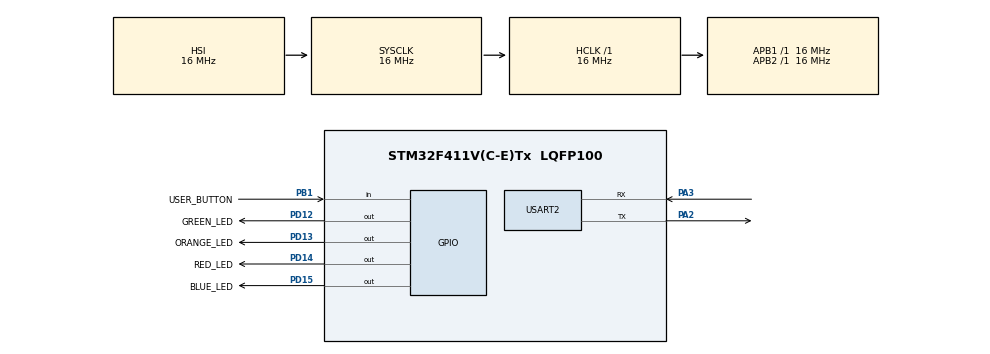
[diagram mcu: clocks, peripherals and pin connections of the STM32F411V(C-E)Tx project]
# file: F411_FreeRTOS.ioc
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FREERTOS.Tasks01=defaultTask,24,128,StartDefaultTask,Default,NULL,Dynamic,NULL,NULL;myTask02,24,128,StartTask02,Default,NULL,Dynamic,NULL,NULL;myTask03,24,128,StartTask03,Default,NULL,Dynamic,NULL,NULL;myTask04,24,128,StartTask04,Default,NULL,Dynamic,NULL,NULL;myTask05,24,128,StartTask05,Default,NULL,Dynamic,NULL,NULL
Mcu.Family=STM32F4
Mcu.Name=STM32F411V(C-E)Tx
Mcu.Package=LQFP100
NVIC.PriorityGroup=NVIC_PRIORITYGROUP_4
NVIC.TIM1_UP_TIM10_IRQn=true\:15\:0\:false\:false\:true\:false\:false\:true\:true
NVIC.TimeBase=TIM1_UP_TIM10_IRQn
NVIC.TimeBaseIP=TIM1
PA13.Mode=Serial_Wire
PA13.Signal=SYS_JTMS-SWDIO
PA14.Mode=Serial_Wire
PA14.Signal=SYS_JTCK-SWCLK
PA2.Mode=Asynchronous
PA2.Signal=USART2_TX
PA3.Mode=Asynchronous
PA3.Signal=USART2_RX
PB1.GPIO_Label=USER_BUTTON
PB1.Signal=GPIO_Input
PD12.GPIO_Label=GREEN_LED
PD12.Signal=GPIO_Output
PD13.GPIO_Label=ORANGE_LED
PD13.Signal=GPIO_Output
PD14.GPIO_Label=RED_LED
PD14.Signal=GPIO_Output
PD15.GPIO_Label=BLUE_LED
PD15.Signal=GPIO_Output
ProjectManager.HeapSize=0x200
ProjectManager.StackSize=0x400
ProjectManager.TargetToolchain=STM32CubeIDE
RCC.AHBFreq_Value=16000000
RCC.APB1Freq_Value=16000000
RCC.APB2Freq_Value=16000000
RCC.CortexFreq_Value=16000000
RCC.HSE_VALUE=25000000
RCC.HSI_VALUE=16000000
RCC.LSE_VALUE=32768
RCC.SYSCLKFreq_VALUE=16000000
RCC.VCOOutputFreq_Value=192000000
USART2.VirtualMode=VM_ASYNC
VP_FREERTOS_VS_CMSIS_V2.Mode=CMSIS_V2
VP_SYS_VS_tim1.Mode=TIM1
board=custom

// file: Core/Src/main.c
/* USER CODE BEGIN Header */
/**
  ******************************************************************************
  * @file           : main.c
  * @brief          : Main program body
  ******************************************************************************
  * @attention
  *
  * Copyright (c) 2022 STMicroelectronics.
  * All rights reserved.
  *
  * This software is licensed under terms that can be found in the LICENSE file
  * in the root directory of this software component.
  * If no LICENSE file comes with this software, it is provided AS-IS.
  *
  ******************************************************************************
  */
/* USER CODE END Header */
#include "main.h"
#include "cmsis_os.h"

/* USER CODE BEGIN Includes */
#include "string.h"

/* USER CODE END Includes */

UART_HandleTypeDef huart2;

/* Definitions for defaultTask */
osThreadId_t defaultTaskHandle;
const osThreadAttr_t defaultTask_attributes = {
  .name = "defaultTask",
  .stack_size = 128 * 4,
  .priority = (osPriority_t) osPriorityNormal,
};
/* Definitions for myTask02 */
osThreadId_t myTask02Handle;
const osThreadAttr_t myTask02_attributes = {
  .name = "myTask02",
  .stack_size = 128 * 4,
  .priority = (osPriority_t) osPriorityNormal,
};
/* Definitions for myTask03 */
osThreadId_t myTask03Handle;
const osThreadAttr_t myTask03_attributes = {
  .name = "myTask03",
  .stack_size = 128 * 4,
  .priority = (osPriority_t) osPriorityNormal,
};
/* Definitions for myTask04 */
osThreadId_t myTask04Handle;
const osThreadAttr_t myTask04_attributes = {
  .name = "myTask04",
  .stack_size = 128 * 4,
  .priority = (osPriority_t) osPriorityNormal,
};
/* Definitions for myTask05 */
osThreadId_t myTask05Handle;
const osThreadAttr_t myTask05_attributes = {
  .name = "myTask05",
  .stack_size = 128 * 4,
  .priority = (osPriority_t) osPriorityNormal,
};

void SystemClock_Config(void);
static void MX_GPIO_Init(void);
static void MX_USART2_UART_Init(void);
void StartDefaultTask(void *argument);
void StartTask02(void *argument);
void StartTask03(void *argument);
void StartTask04(void *argument);
void StartTask05(void *argument);

int main(void)
{

  /* MCU Configuration--------------------------------------------------------*/

  /* Reset of all peripherals, Initializes the Flash interface and the Systick. */
  HAL_Init();

  /* Configure the system clock */
  SystemClock_Config();

  /* Initialize all configured peripherals */
  MX_GPIO_Init();
  MX_USART2_UART_Init();

  /* Init scheduler */
  osKernelInitialize();

  /* Create the thread(s) */
  /* creation of defaultTask */
  defaultTaskHandle = osThreadNew(StartDefaultTask, NULL, &defaultTask_attributes);

  /* creation of myTask02 */
  myTask02Handle = osThreadNew(StartTask02, NULL, &myTask02_attributes);

  /* creation of myTask03 */
  myTask03Handle = osThreadNew(StartTask03, NULL, &myTask03_attributes);

  /* creation of myTask04 */
  myTask04Handle = osThreadNew(StartTask04, NULL, &myTask04_attributes);

  /* creation of myTask05 */
  myTask05Handle = osThreadNew(StartTask05, NULL, &myTask05_attributes);

  /* Start scheduler */
  osKernelStart();

  /* We should never get here as control is now taken by the scheduler */
  /* Infinite loop */
  while (1)
  {

    /* USER CODE BEGIN 3 */
	  //osDelay(x) fonksiyonu sayesinde x(ms) de bir task kendini tekrar eder.
  }
  /* USER CODE END 3 */
}

void SystemClock_Config(void)
{
  RCC_OscInitTypeDef RCC_OscInitStruct = {0};
  RCC_ClkInitTypeDef RCC_ClkInitStruct = {0};

  /** Configure the main internal regulator output voltage
  */
  __HAL_RCC_PWR_CLK_ENABLE();
  __HAL_PWR_VOLTAGESCALING_CONFIG(PWR_REGULATOR_VOLTAGE_SCALE1);

  /** Initializes the RCC Oscillators according to the specified parameters
  * in the RCC_OscInitTypeDef structure.
  */
  RCC_OscInitStruct.OscillatorType = RCC_OSCILLATORTYPE_HSI;
  RCC_OscInitStruct.HSIState = RCC_HSI_ON;
  RCC_OscInitStruct.HSICalibrationValue = RCC_HSICALIBRATION_DEFAULT;
  RCC_OscInitStruct.PLL.PLLState = RCC_PLL_NONE;
  if (HAL_RCC_OscConfig(&RCC_OscInitStruct) != HAL_OK)
  {
    Error_Handler();
  }

  /** Initializes the CPU, AHB and APB buses clocks
  */
  RCC_ClkInitStruct.ClockType = RCC_CLOCKTYPE_HCLK|RCC_CLOCKTYPE_SYSCLK
                              |RCC_CLOCKTYPE_PCLK1|RCC_CLOCKTYPE_PCLK2;
  RCC_ClkInitStruct.SYSCLKSource = RCC_SYSCLKSOURCE_HSI;
  RCC_ClkInitStruct.AHBCLKDivider = RCC_SYSCLK_DIV1;
  RCC_ClkInitStruct.APB1CLKDivider = RCC_HCLK_DIV1;
  RCC_ClkInitStruct.APB2CLKDivider = RCC_HCLK_DIV1;

  if (HAL_RCC_ClockConfig(&RCC_ClkInitStruct, FLASH_LATENCY_0) != HAL_OK)
  {
    Error_Handler();
  }
}

static void MX_USART2_UART_Init(void)
{

  huart2.Instance = USART2;
  huart2.Init.BaudRate = 115200;
  huart2.Init.WordLength = UART_WORDLENGTH_8B;
  huart2.Init.StopBits = UART_STOPBITS_1;
  huart2.Init.Parity = UART_PARITY_NONE;
  huart2.Init.Mode = UART_MODE_TX_RX;
  huart2.Init.HwFlowCtl = UART_HWCONTROL_NONE;
  huart2.Init.OverSampling = UART_OVERSAMPLING_16;
  if (HAL_UART_Init(&huart2) != HAL_OK)
  {
    Error_Handler();
  }

}

static void MX_GPIO_Init(void)
{
  GPIO_InitTypeDef GPIO_InitStruct = {0};

  /* GPIO Ports Clock Enable */
  __HAL_RCC_GPIOA_CLK_ENABLE();
  __HAL_RCC_GPIOB_CLK_ENABLE();
  __HAL_RCC_GPIOD_CLK_ENABLE();

  /*Configure GPIO pin Output Level */
  HAL_GPIO_WritePin(GPIOD, GREEN_LED_Pin|ORANGE_LED_Pin|RED_LED_Pin|BLUE_LED_Pin, GPIO_PIN_RESET);

  /*Configure GPIO pin : USER_BUTTON_Pin */
  GPIO_InitStruct.Pin = USER_BUTTON_Pin;
  GPIO_InitStruct.Mode = GPIO_MODE_INPUT;
  GPIO_InitStruct.Pull = GPIO_NOPULL;
  HAL_GPIO_Init(USER_BUTTON_GPIO_Port, &GPIO_InitStruct);

  /*Configure GPIO pins : GREEN_LED_Pin ORANGE_LED_Pin RED_LED_Pin BLUE_LED_Pin */
  GPIO_InitStruct.Pin = GREEN_LED_Pin|ORANGE_LED_Pin|RED_LED_Pin|BLUE_LED_Pin;
  GPIO_InitStruct.Mode = GPIO_MODE_OUTPUT_PP;
  GPIO_InitStruct.Pull = GPIO_NOPULL;
  GPIO_InitStruct.Speed = GPIO_SPEED_FREQ_LOW;
  HAL_GPIO_Init(GPIOD, &GPIO_InitStruct);

}

void StartDefaultTask(void *argument)
{
  /* USER CODE BEGIN 5 */
  /* Infinite loop */
  for(;;)
  {
	  HAL_GPIO_WritePin(ORANGE_LED_GPIO_Port, ORANGE_LED_Pin, 1);
	  HAL_Delay(100);
	  HAL_GPIO_WritePin(ORANGE_LED_GPIO_Port, ORANGE_LED_Pin, 0);
	  HAL_Delay(100);
	  osDelay(1);
  }
  /* USER CODE END 5 */
}

void StartTask02(void *argument)
{
  /* USER CODE BEGIN StartTask02 */
  /* Infinite loop */
  for(;;)
  {
	  HAL_GPIO_WritePin(GREEN_LED_GPIO_Port, GREEN_LED_Pin, 1);
	  HAL_Delay(200);
	  HAL_GPIO_WritePin(GREEN_LED_GPIO_Port, GREEN_LED_Pin, 0);
	  HAL_Delay(200);
	  osDelay(1);
  }
  /* USER CODE END StartTask02 */
}

void StartTask03(void *argument)
{
  /* USER CODE BEGIN StartTask03 */
  /* Infinite loop */
  for(;;)
  {
	  HAL_GPIO_WritePin(RED_LED_GPIO_Port, RED_LED_Pin, 1);
	  HAL_Delay(300);
	  HAL_GPIO_WritePin(RED_LED_GPIO_Port, RED_LED_Pin, 0);
	  HAL_Delay(300);
	  osDelay(1);
  }
  /* USER CODE END StartTask03 */
}

void StartTask04(void *argument)
{
  /* USER CODE BEGIN StartTask04 */
  /* Infinite loop */
  for(;;)
  {
	  HAL_GPIO_WritePin(BLUE_LED_GPIO_Port, BLUE_LED_Pin, 1);
	  HAL_Delay(400);
	  HAL_GPIO_WritePin(BLUE_LED_GPIO_Port, BLUE_LED_Pin, 0);
	  HAL_Delay(400);
	  osDelay(1);
  }
  /* USER CODE END StartTask04 */
}

void StartTask05(void *argument)
{
  /* USER CODE BEGIN StartTask05 */
	char TransmitedData[100] = "USART Test\n";
	argument = TransmitedData;
  /* Infinite loop */
  for(;;)
  {
	  HAL_UART_Transmit(&huart2, (uint8_t*)argument, strlen(argument), 100);
	  osDelay(1000);
  }
  /* USER CODE END StartTask05 */
}

void HAL_TIM_PeriodElapsedCallback(TIM_HandleTypeDef *htim)
{
  if (htim->Instance == TIM1) {
    HAL_IncTick();
  }
}

void Error_Handler(void)
{
  __disable_irq();
  while (1)
  {
  }
}
